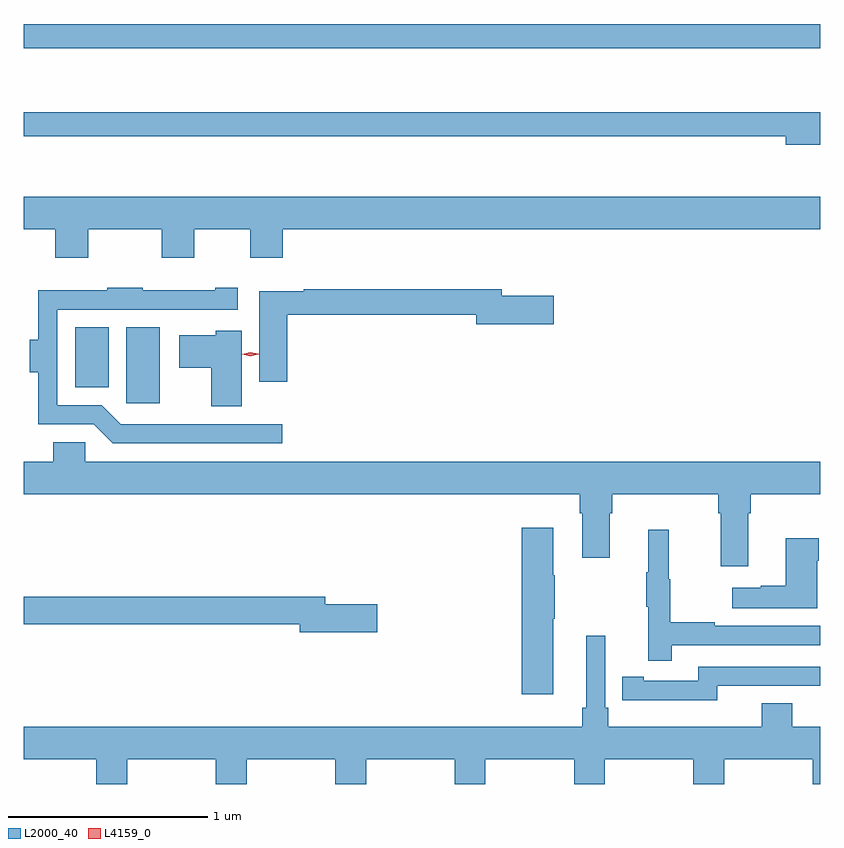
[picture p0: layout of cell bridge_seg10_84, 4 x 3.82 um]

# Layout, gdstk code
import gdstk
lib = gdstk.Library(unit=1e-6, precision=1e-09)
def R(c, l, rs):  # rectangles x0, y0, x1, y1
    for r in rs: c.add(gdstk.rectangle(r[:2], r[2:], *l))
def P(c, l, *ps):  # polygons
    for p in ps: c.add(gdstk.Polygon(p, *l))
L2000_40 = (2000, 40)
L4159_0 = (4159, 0)

bridge_seg10_84 = lib.new_cell('bridge_seg10_84')
R(bridge_seg10_84, L2000_40, [(658.646,1315.425,658.813,1315.807), (658.388,1315.505,658.558,1315.807), (658.131,1317.21,662.131,1317.331)])
P(bridge_seg10_84, L2000_40, [(662.131,1316.887),(658.131,1316.887),(658.131,1316.766),(661.958,1316.766),(661.958,1316.723),(662.131,1316.723)],
  [(658.453,1316.3),(658.823,1316.3),(658.823,1316.157),(658.987,1316.157),(658.987,1316.3),(659.267,1316.3),(659.267,1316.157),(659.431,1316.157),(659.431,1316.3),(662.131,1316.3),(662.131,1316.464),(658.131,1316.464),(658.131,1316.3),(658.289,1316.3),(658.289,1316.157),(658.453,1316.157)],
  [(659.428,1315.32),(658.617,1315.32),(658.521,1315.416),(658.299,1315.416),(658.299,1315.896),(659.206,1315.896),(659.206,1316.005),(659.093,1316.005),(659.093,1315.993),(658.727,1315.993),(658.727,1316.005),(658.549,1316.005),(658.549,1315.993),(658.203,1315.993),(658.203,1315.744),(658.16,1315.744),(658.16,1315.58),(658.202,1315.58),(658.202,1315.32),(658.482,1315.32),(658.578,1315.224),(659.428,1315.224)],
  [(659.453,1315.87),(660.404,1315.87),(660.404,1315.823),(660.793,1315.823),(660.793,1315.965),(660.532,1315.965),(660.532,1315.999),(659.536,1315.999),(659.536,1315.987),(659.312,1315.987),(659.312,1315.533),(659.453,1315.533)],
  [(659.224,1315.789),(659.094,1315.789),(659.094,1315.768),(658.911,1315.768),(658.911,1315.604),(659.072,1315.604),(659.072,1315.409),(659.224,1315.409)],
  [(661.771,1314.872),(661.784,1314.872),(661.784,1314.968),(662.131,1314.968),(662.131,1315.132),(658.44,1315.132),(658.44,1315.23),(658.277,1315.23),(658.277,1315.132),(658.131,1315.132),(658.131,1314.968),(660.923,1314.968),(660.923,1314.872),(660.935,1314.872),(660.935,1314.648),(661.075,1314.648),(661.075,1314.872),(661.088,1314.872),(661.088,1314.968),(661.619,1314.968),(661.619,1314.872),(661.631,1314.872),(661.631,1314.606),(661.771,1314.606)],
  [(660.79,1314.343),(660.798,1314.343),(660.798,1314.56),(660.79,1314.56),(660.79,1314.799),(660.632,1314.799),(660.632,1313.964),(660.79,1313.964)],
  [(661.385,1314.21),(662.131,1314.21),(662.131,1314.306),(661.601,1314.306),(661.601,1314.326),(661.378,1314.326),(661.378,1314.54),(661.37,1314.54),(661.37,1314.79),(661.268,1314.79),(661.268,1314.577),(661.257,1314.577),(661.257,1314.403),(661.268,1314.403),(661.268,1314.132),(661.385,1314.132)],
  [(662.116,1314.635),(662.124,1314.635),(662.124,1314.748),(661.958,1314.748),(661.958,1314.509),(661.832,1314.509),(661.832,1314.499),(661.689,1314.499),(661.689,1314.395),(662.116,1314.395)],
  [(659.905,1314.416),(659.644,1314.416),(659.644,1314.452),(658.131,1314.452),(658.131,1314.316),(659.516,1314.316),(659.516,1314.274),(659.905,1314.274)],
  [(658.65,1313.636),(659.095,1313.636),(659.095,1313.512),(659.25,1313.512),(659.25,1313.636),(659.695,1313.636),(659.695,1313.512),(659.85,1313.512),(659.85,1313.636),(660.295,1313.636),(660.295,1313.512),(660.45,1313.512),(660.45,1313.636),(660.895,1313.636),(660.895,1313.512),(661.05,1313.512),(661.05,1313.636),(661.495,1313.636),(661.495,1313.512),(661.65,1313.512),(661.65,1313.636),(662.095,1313.636),(662.095,1313.512),(662.131,1313.512),(662.131,1313.8),(661.991,1313.8),(661.991,1313.917),(661.838,1313.917),(661.838,1313.8),(661.067,1313.8),(661.067,1313.896),(661.053,1313.896),(661.053,1314.256),(660.956,1314.256),(660.956,1313.896),(660.937,1313.896),(660.937,1313.8),(658.131,1313.8),(658.131,1313.636),(658.495,1313.636),(658.495,1313.512),(658.65,1313.512)],
  [(661.614,1314.006),(662.074,1314.006),(662.074,1314.005),(662.131,1314.005),(662.131,1314.102),(661.518,1314.102),(661.518,1314.03),(661.246,1314.03),(661.246,1314.05),(661.138,1314.05),(661.138,1313.934),(661.246,1313.934),(661.246,1313.933),(661.614,1313.933)])
P(bridge_seg10_84, L4159_0, [(659.268,1315.662),(659.227,1315.672),(659.227,1315.672),(659.227,1315.672),(659.268,1315.682),(659.309,1315.673),(659.31,1315.672),(659.309,1315.672)])

lib.write_gds('bridge_seg10_84.gds')
